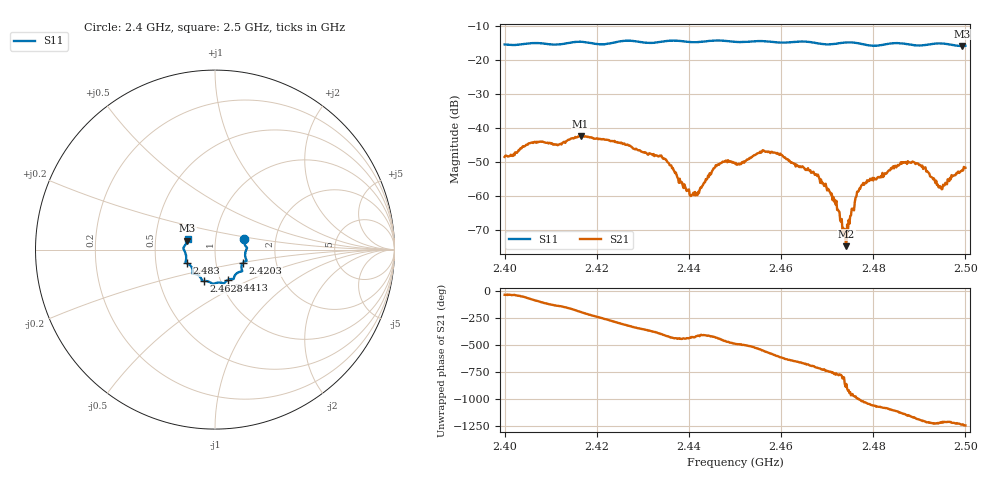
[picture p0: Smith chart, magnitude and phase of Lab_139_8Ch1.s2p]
# Hz S RI R 50
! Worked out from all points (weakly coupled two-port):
!   601 points, 2.4 GHz to 2.5 GHz, reference 50 ohm
!   highest |S21| = -42.26 dB at 2.4165 GHz (marker M1); lowest = -74.7 dB at 2.4742 GHz (marker M2)
!   lowest |S11| = -15.8 dB at 2.4993 GHz (marker M3), VSWR 1.39, Z = 36.5 + j3.73 ohm
!   |S11| at or under -10 dB: start of sweep to end of sweep
!   S12 and S22 are empty: the file has one direction only
!   S11 on the Smith chart (normalised r, x): 2.4 GHz: 1.37, +0.16; 2.4203 GHz: 1.35, -0.21; 2.4413 GHz: 1.09, -0.38; 2.4628 GHz: 0.83, -0.30; 2.483 GHz: 0.72, -0.11; 2.5 GHz: 0.73, +0.09
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2.4e9  0.1605 0.0571  0.00307 -0.00221  0 0  0 0
2.405667e9  0.1775 0.0109  0.00153 -0.00589  0 0  0 0
2.4165e9  0.1764 -0.0611  -0.00745 0.00198  0 0  0 0
2.416667e9  0.176 -0.0612  -0.00726 0.00223  0 0  0 0
2.420333e9  0.1554 -0.0738  -0.00319 0.00612  0 0  0 0
2.433333e9  0.108 -0.1484  0.00327 -0.00201  0 0  0 0
2.441333e9  0.0744 -0.168  0.000434 -0.00107  0 0  0 0
2.445833e9  0.0501 -0.1883  0.000834 -0.00273  0 0  0 0
2.45e9  0.0292 -0.1838  -0.00189 -0.00235  0 0  0 0
2.4565e9  -0.0142 -0.1897  -0.00424 0.00162  0 0  0 0
2.462833e9  -0.0629 -0.1749  0.00108 0.00278  0 0  0 0
2.466667e9  -0.0743 -0.1675  0.00208 0.000916  0 0  0 0
2.470833e9  -0.1002 -0.1392  0.000911 -0.000526  0 0  0 0
2.473667e9  -0.1217 -0.1342  3.59e-05 -0.000266  0 0  0 0
2.474167e9  -0.1233 -0.1342  -0.000146 -0.000112  0 0  0 0
2.477e9  -0.1244 -0.1245  0.000392 0.00124  0 0  0 0
2.483e9  -0.1548 -0.0766  0.0022 -0.000314  0 0  0 0
2.483333e9  -0.157 -0.0757  0.00232 -0.000507  0 0  0 0
2.489e9  -0.1604 -0.0412  -0.000387 -0.00309  0 0  0 0
2.494667e9  -0.1759 0.00948  -0.001 -0.000921  0 0  0 0
2.499333e9  -0.1541 0.0498  -0.00225 -0.000907  0 0  0 0
2.5e9  -0.1524 0.0585  -0.00255 -0.000579  0 0  0 0
